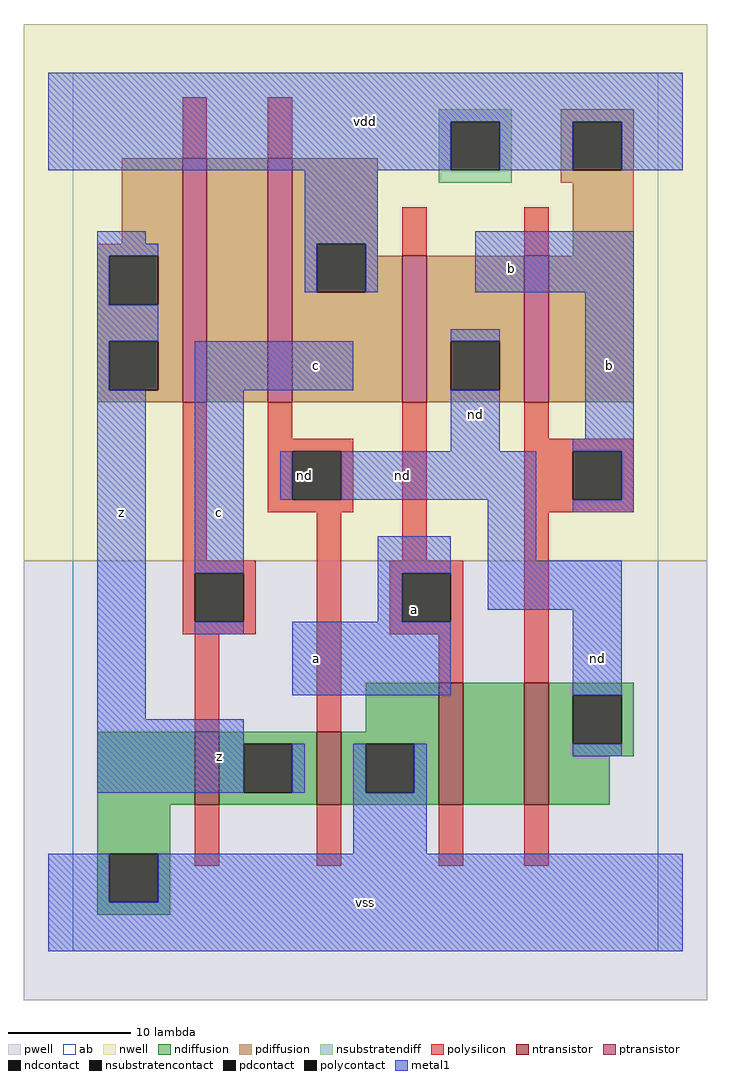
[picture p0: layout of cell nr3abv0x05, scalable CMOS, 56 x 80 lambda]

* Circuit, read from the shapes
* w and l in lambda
.subckt nr3abv0x05 a b c nd vdd vss z
M1 z c vss VSUBS nfet w=6 l=2
M2 vss nd z VSUBS nfet w=6 l=2
M3 n1 a vss VSUBS nfet w=10 l=2
M4 nd b n1 VSUBS nfet w=10 l=2
M5 n2 c z vdd pfet w=20 l=2
M6 vdd nd n2 vdd pfet w=20 l=2
M7 nd a vdd vdd pfet w=12 l=2
M8 vdd b nd vdd pfet w=12 l=2
.ends

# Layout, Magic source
magic
tech scmos
<< ab >>
rect 0 0 48 72
<< pwell >>
rect -4 -4 52 32
<< nwell >>
rect -4 32 52 76
<< polysilicon >>
rect 9 65 11 70
rect 16 65 18 70
rect 27 57 29 61
rect 37 57 39 61
rect 9 32 11 45
rect 16 42 18 45
rect 16 41 23 42
rect 16 37 18 41
rect 22 37 23 41
rect 16 36 23 37
rect 9 31 15 32
rect 9 27 10 31
rect 14 27 15 31
rect 9 26 15 27
rect 10 18 12 26
rect 20 18 22 36
rect 27 32 29 45
rect 37 42 39 45
rect 37 41 46 42
rect 37 37 41 41
rect 45 37 46 41
rect 37 36 46 37
rect 26 31 32 32
rect 26 27 27 31
rect 31 27 32 31
rect 26 26 32 27
rect 30 22 32 26
rect 37 22 39 36
rect 10 7 12 12
rect 20 7 22 12
rect 30 7 32 12
rect 37 7 39 12
<< ndiffusion >>
rect 24 18 30 22
rect 2 12 10 18
rect 12 17 20 18
rect 12 13 14 17
rect 18 13 20 17
rect 12 12 20 13
rect 22 17 30 18
rect 22 13 24 17
rect 28 13 30 17
rect 22 12 30 13
rect 32 12 37 22
rect 39 21 46 22
rect 39 17 41 21
rect 45 17 46 21
rect 39 16 46 17
rect 39 12 44 16
rect 2 8 8 12
rect 2 4 3 8
rect 7 4 8 8
rect 2 3 8 4
<< pdiffusion >>
rect 4 58 9 65
rect 2 57 9 58
rect 2 53 3 57
rect 7 53 9 57
rect 2 50 9 53
rect 2 46 3 50
rect 7 46 9 50
rect 2 45 9 46
rect 11 45 16 65
rect 18 58 25 65
rect 40 68 46 69
rect 40 64 41 68
rect 45 64 46 68
rect 40 63 46 64
rect 18 54 20 58
rect 24 57 25 58
rect 41 57 46 63
rect 24 54 27 57
rect 18 45 27 54
rect 29 50 37 57
rect 29 46 31 50
rect 35 46 37 50
rect 29 45 37 46
rect 39 45 46 57
<< metal1 >>
rect -2 68 50 72
rect -2 64 31 68
rect 35 64 41 68
rect 45 64 50 68
rect 2 58 6 59
rect 19 58 25 64
rect 2 57 7 58
rect 2 53 3 57
rect 19 54 20 58
rect 24 54 25 58
rect 33 54 46 59
rect 2 50 7 53
rect 31 50 35 51
rect 2 46 3 50
rect 10 46 23 50
rect 2 19 6 46
rect 10 31 14 46
rect 31 41 35 46
rect 42 42 46 54
rect 41 41 46 42
rect 17 37 18 41
rect 22 37 38 41
rect 25 31 31 34
rect 25 27 27 31
rect 34 32 38 37
rect 45 37 46 41
rect 41 36 46 37
rect 34 28 45 32
rect 10 26 14 27
rect 18 21 31 27
rect 41 21 45 28
rect 2 13 14 19
rect 18 13 19 17
rect 23 13 24 17
rect 28 13 29 17
rect 41 16 45 17
rect 23 8 29 13
rect -2 4 3 8
rect 7 4 50 8
rect -2 0 50 4
<< ntransistor >>
rect 10 12 12 18
rect 20 12 22 18
rect 30 12 32 22
rect 37 12 39 22
<< ptransistor >>
rect 9 45 11 65
rect 16 45 18 65
rect 27 45 29 57
rect 37 45 39 57
<< polycontact >>
rect 18 37 22 41
rect 10 27 14 31
rect 41 37 45 41
rect 27 27 31 31
<< ndcontact >>
rect 14 13 18 17
rect 24 13 28 17
rect 41 17 45 21
rect 3 4 7 8
<< pdcontact >>
rect 3 53 7 57
rect 3 46 7 50
rect 41 64 45 68
rect 20 54 24 58
rect 31 46 35 50
<< nsubstratencontact >>
rect 31 64 35 68
<< nsubstratendiff >>
rect 30 68 36 69
rect 30 64 31 68
rect 35 64 36 68
rect 30 63 36 64
<< labels >>
rlabel polycontact 19 39 19 39 6 nd
rlabel metal1 4 36 4 36 6 z
rlabel metal1 12 16 12 16 6 z
rlabel metal1 20 24 20 24 6 a
rlabel metal1 12 36 12 36 6 c
rlabel metal1 20 48 20 48 6 c
rlabel metal1 24 4 24 4 6 vss
rlabel polycontact 28 28 28 28 6 a
rlabel metal1 33 44 33 44 6 nd
rlabel metal1 24 68 24 68 6 vdd
rlabel metal1 43 24 43 24 6 nd
rlabel metal1 27 39 27 39 6 nd
rlabel metal1 44 48 44 48 6 b
rlabel metal1 36 56 36 56 6 b
<< end >>
